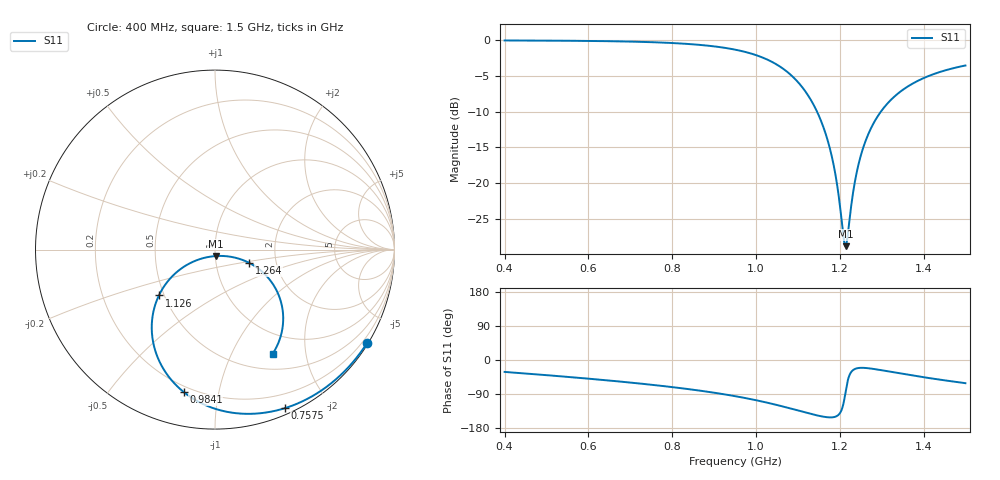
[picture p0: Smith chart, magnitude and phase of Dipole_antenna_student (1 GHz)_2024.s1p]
! TOUCHSTONE file generated by CST MICROWAVE STUDIO
! Date and time: Mon Mar 17 13:33:34 2025
! Project name: Dipole_antenna_student (1 GHz)_2024.cst
! Parameters = {dipole_length=93.7}
! Header version: 2024
! Port assignment regex: !\s*Touchstone port\s*([0-9]+)\s*=\s*(CST MWS port|CST DES external port|CST DES block port)\s*(.+)\s* \(\"(.*)\"\)(\s*mode\s*([0-9]+))?.*
! Touchstone port assignment:
! Touchstone port 1 = CST MWS port 1 ("")
# GHz S MA R 50
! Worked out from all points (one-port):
!   1011 points, 400 MHz to 1.5 GHz, reference 50 ohm
!   lowest |S11| = -28.8 dB at 1.214 GHz (marker M1), VSWR 1.08, Z = 50.2 - j3.62 ohm
!   |S11| at or under -10 dB: 1.146 GHz to 1.298 GHz (152.6 MHz wide, 12.5 % of centre)
!   S11 on the Smith chart (normalised r, x): 400 MHz: 0.04, -3.56; 757.5 MHz: 0.06, -1.53; 984.1 MHz: 0.17, -0.79; 1.126 GHz: 0.47, -0.29; 1.264 GHz: 1.45, -0.22; 1.5 GHz: 0.70, -1.45
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0.4  0.9942 -31.4
0.5375  0.99 -43.4
0.675  0.9796 -56.8
0.7575  0.9656 -66.2
0.8125  0.9497 -73.2
0.8873  0.9129 -84.2
0.95  0.8577 -95.4
0.9841  0.812 -102.5
1.0435  0.6908 -116.9
1.0875  0.5557 -129.4
1.126  0.4036 -140.7
1.1546  0.2757 -148.3
1.1766  0.1741 -151.5
1.1909  0.1096 -149.1
1.1997  0.0726 -141.4
1.2008  0.06829 -139.7
1.2085  0.04293 -116.9
1.214  0.03616 -84.0
1.2184  0.04155 -57.8
1.225  0.06079 -36.0
1.2327  0.08884 -25.9
1.2415  0.1223 -21.8
1.2514  0.1596 -20.6
1.2635  0.2034 -21.2
1.3009  0.3236 -27.2
1.3625  0.4737 -38.8
1.4241  0.5781 -49.5
1.5  0.6642 -61.2
